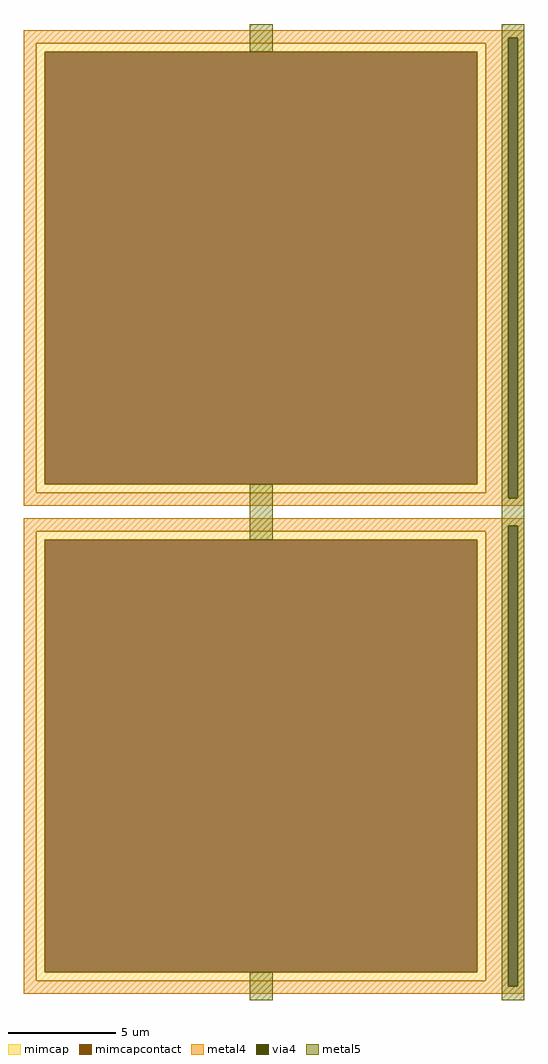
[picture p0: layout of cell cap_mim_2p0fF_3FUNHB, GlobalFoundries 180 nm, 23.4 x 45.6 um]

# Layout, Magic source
magic
tech gf180mcuC
magscale 1 10
<< mimcap >>
rect -2220 4300 1980 4380
rect -2220 260 -2140 4300
rect 1900 260 1980 4300
rect -2220 180 1980 260
rect -2220 -260 1980 -180
rect -2220 -4300 -2140 -260
rect 1900 -4300 1980 -260
rect -2220 -4380 1980 -4300
<< mimcapcontact >>
rect -2140 260 1900 4300
rect -2140 -4300 1900 -260
<< metal4 >>
rect -2340 4433 2340 4500
rect -2340 4380 2190 4433
rect -2340 180 -2220 4380
rect 1980 180 2190 4380
rect -2340 127 2190 180
rect 2278 127 2340 4433
rect -2340 60 2340 127
rect -2340 -127 2340 -60
rect -2340 -180 2190 -127
rect -2340 -4380 -2220 -180
rect 1980 -4380 2190 -180
rect -2340 -4433 2190 -4380
rect 2278 -4433 2340 -127
rect -2340 -4500 2340 -4433
<< via4 >>
rect 2190 127 2278 4433
rect 2190 -4433 2278 -127
<< metal5 >>
rect -226 4300 -14 4560
rect 2128 4433 2340 4560
rect -226 -260 -14 260
rect 2128 127 2190 4433
rect 2278 127 2340 4433
rect 2128 -127 2340 127
rect -226 -4560 -14 -4300
rect 2128 -4433 2190 -127
rect 2278 -4433 2340 -127
rect 2128 -4560 2340 -4433
<< properties >>
string FIXED_BBOX -2340 60 2100 4500
string gencell cap_mim_2p0fF
string library gf180mcu
string parameters w 21 l 21 val 12.705k carea 25.00 cperi 20.00 nx 1 ny 2 dummy 0 square 0 lmin 5.00 wmin 5.00 lmax 100.0 wmax 100.0 dc 0 bconnect 1 tconnect 1
<< end >>
